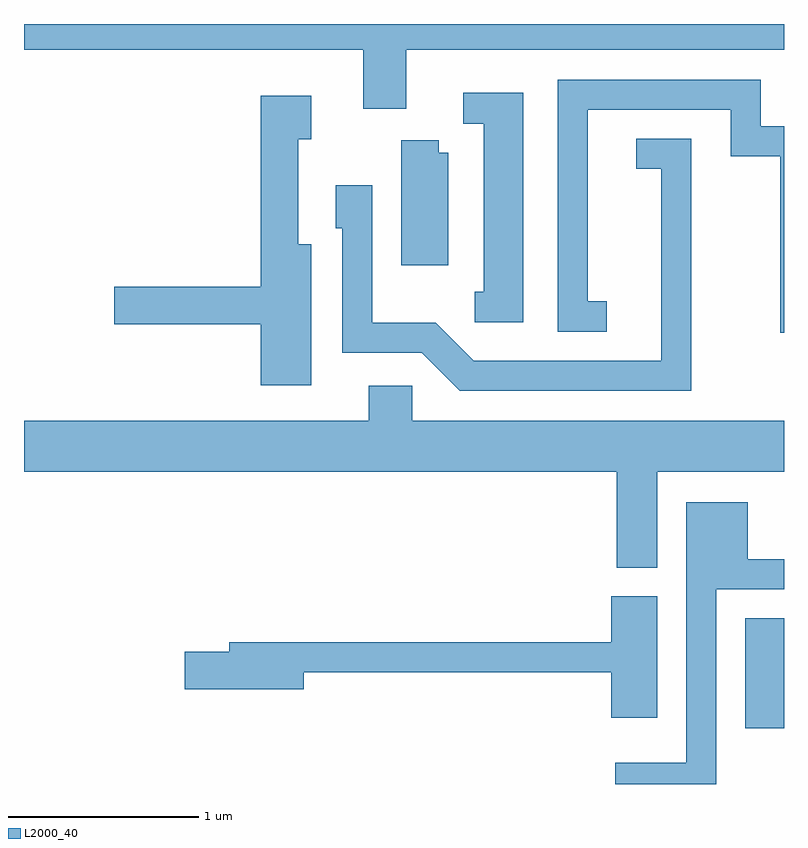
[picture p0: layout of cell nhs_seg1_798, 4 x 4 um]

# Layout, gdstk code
import gdstk
lib = gdstk.Library(unit=1e-6, precision=1e-09)
def R(c, l, rs):  # rectangles x0, y0, x1, y1
    for r in rs: c.add(gdstk.rectangle(r[:2], r[2:], *l))
def P(c, l, *ps):  # polygons
    for p in ps: c.add(gdstk.Polygon(p, *l))
L2000_40 = (2000, 40)

nhs_seg1_798 = lib.new_cell('nhs_seg1_798')
R(nhs_seg1_798, L2000_40, [(213.406,896.006,213.611,896.584)])
P(nhs_seg1_798, L2000_40, [(211.624,899.576),(213.611,899.576),(213.611,899.712),(209.611,899.712),(209.611,899.576),(211.396,899.576),(211.396,899.266),(211.624,899.266)],
  [(213.611,899.174),(213.489,899.174),(213.489,899.419),(212.421,899.419),(212.421,898.091),(212.678,898.091),(212.678,898.254),(212.579,898.254),(212.579,899.261),(213.331,899.261),(213.331,899.016),(213.591,899.016),(213.591,898.086),(213.611,898.086)],
  [(212.239,899.349),(211.923,899.349),(211.923,899.186),(212.031,899.186),(212.031,898.304),(211.983,898.304),(211.983,898.141),(212.239,898.141)],
  [(211.124,898.554),(211.054,898.554),(211.054,899.106),(211.124,899.106),(211.124,899.334),(210.856,899.334),(210.856,898.329),(210.086,898.329),(210.086,898.131),(210.856,898.131),(210.856,897.811),(211.124,897.811)],
  [(213.124,899.109),(212.833,899.109),(212.833,898.951),(212.966,898.951),(212.966,897.939),(211.977,897.939),(211.777,898.139),(211.444,898.139),(211.444,898.864),(211.251,898.864),(211.251,898.636),(211.286,898.636),(211.286,897.981),(211.704,897.981),(211.904,897.781),(213.124,897.781)],
  [(211.844,899.034),(211.794,899.034),(211.794,899.099),(211.596,899.099),(211.596,898.441),(211.844,898.441)],
  [(212.944,897.356),(213.611,897.356),(213.611,897.624),(211.654,897.624),(211.654,897.809),(211.426,897.809),(211.426,897.624),(209.611,897.624),(209.611,897.356),(212.731,897.356),(212.731,896.851),(212.944,896.851)],
  [(213.254,896.736),(213.611,896.736),(213.611,896.894),(213.419,896.894),(213.419,897.194),(213.096,897.194),(213.096,895.824),(212.723,895.824),(212.723,895.712),(213.254,895.712)],
  [(212.944,896.699),(212.701,896.699),(212.701,896.459),(210.691,896.459),(210.691,896.409),(210.456,896.409),(210.456,896.211),(211.084,896.211),(211.084,896.301),(212.701,896.301),(212.701,896.061),(212.944,896.061)])

lib.write_gds('nhs_seg1_798.gds')
